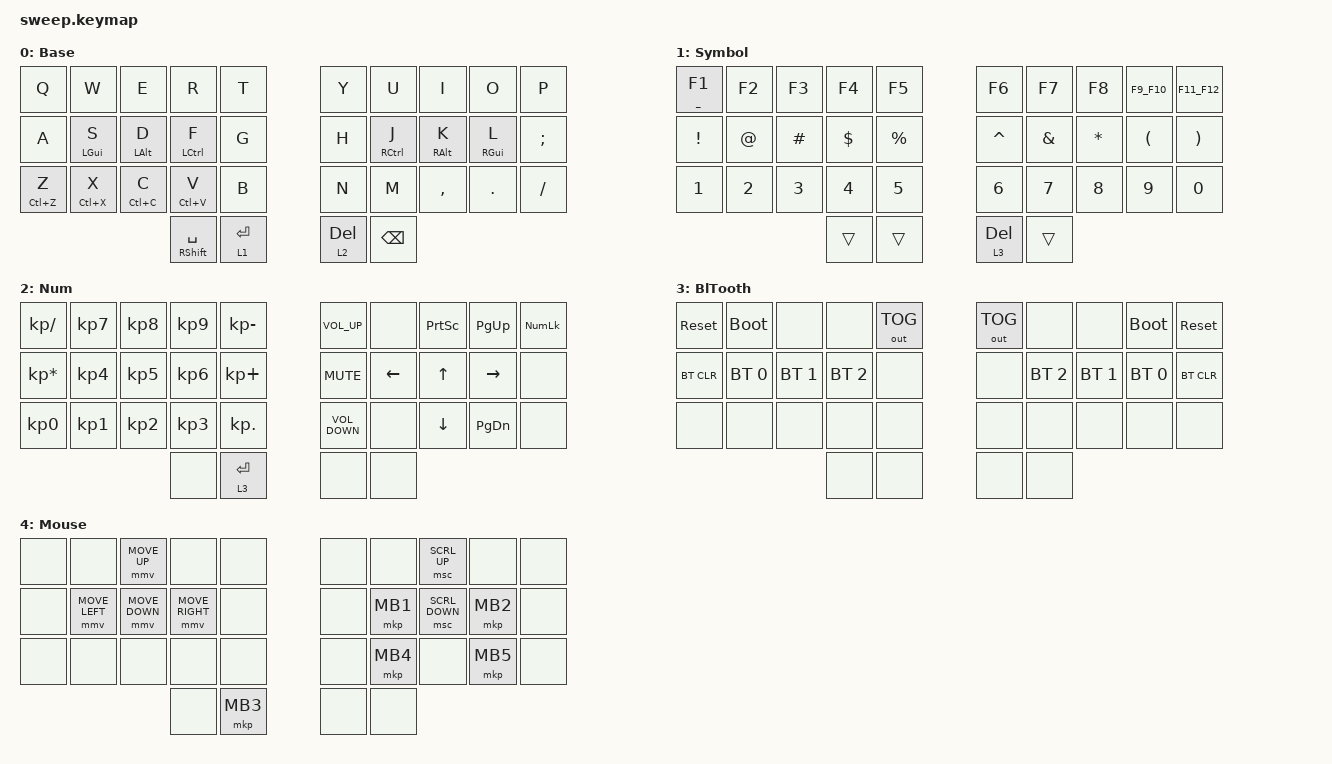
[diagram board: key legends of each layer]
#include <behaviors.dtsi>
#include <dt-bindings/zmk/bt.h>
#include <dt-bindings/zmk/keys.h>
#include <dt-bindings/zmk/outputs.h>
#include <dt-bindings/zmk/pointing.h>

&mt {
    flavor = "tap-preferred";
    tapping_term_ms = <350>;
};

/ {
    combos {
        compatible = "zmk,combos";

        Skoba_L {
            bindings = <&kp RBKT>;
            key-positions = <10 11>;
        };

        Tilda {
            bindings = <&kp TILDE>;
            key-positions = <20 21>;
        };

        Tabul {
            bindings = <&kp TAB>;
            key-positions = <4 14>;
        };

        Cherta {
            bindings = <&kp BSLH>;
            key-positions = <14 24>;
        };

        Escape {
            bindings = <&kp ESC>;
            key-positions = <5 25>;
        };

        Underscore {
            bindings = <&kp MINUS>;
            key-positions = <15 25>;
        };

        Scoba_R {
            bindings = <&kp LBKT>;
            key-positions = <19 18>;
        };

        Apostrophe {
            bindings = <&kp APOS>;
            key-positions = <29 28>;
        };

        comma {
            bindings = <&comma>;
            key-positions = <5 15>;
        };

        dot {
            bindings = <&dot>;
            key-positions = <6 16>;
        };

        colon {
            bindings = <&colon>;
            key-positions = <7 17>;
        };

        semicolon {
            bindings = <&semicolon>;
            key-positions = <8 18>;
        };

        Layer_4 {
            bindings = <&tog 4>;
            key-positions = <4 0>;
        };

        EN {
            bindings = <&kp LC(N0)>;
            key-positions = <13 2>;
        };

        RU {
            bindings = <&kp LC(NUMBER_1)>;
            key-positions = <16 7>;
        };

        cmd {
            bindings = <&cmd>;
            key-positions = <5 7>;
        };
    };

    behaviors {
        F11_F12: F11_F12 {
            compatible = "zmk,behavior-tap-dance";
            label = "F11_F12";
            #binding-cells = <0>;
            bindings = <&kp F11>, <&kp F12>;

            tapping-term-ms = <400>;
        };

        F9_F10: F9_F10 {
            compatible = "zmk,behavior-tap-dance";
            label = "F9_F10";
            #binding-cells = <0>;
            bindings = <&kp F9>, <&kp F10>;

            tapping-term-ms = <400>;
        };

        Sticky_shift: Sticky_shift {
            compatible = "zmk,behavior-sticky-key";
            label = "STICKY_SHIFT";
            bindings = <&kp>;
            #binding-cells = <1>;
            lazy;
            release-after-ms = <10000>;
        };
    };

    macros {
        colon: colon {
            compatible = "zmk,behavior-macro";
            #binding-cells = <0>;
            bindings = <&kp LC(LSHFT) &kp LS(SEMI) &kp LC(LSHFT) &kp SPACE>;
            label = "COLON";
        };

        semicolon: semicolon {
            compatible = "zmk,behavior-macro";
            #binding-cells = <0>;
            bindings = <&kp LC(LSHFT) &kp SEMI &kp LC(LSHFT) &kp SPACE>;
            label = "SEMICOLON";
        };

        comma: comma {
            compatible = "zmk,behavior-macro";
            #binding-cells = <0>;
            bindings = <&kp LS(SLASH) &kp SPACE>;
            label = "COMMA";
        };

        dot: dot {
            compatible = "zmk,behavior-macro";
            #binding-cells = <0>;
            bindings = <&kp SLASH &kp SPACE &Sticky_shift LSHFT>;
            label = "DOT";
        };

        cmd: cmd {
            compatible = "zmk,behavior-macro";
            #binding-cells = <0>;
            bindings = <&kp LC(N0) &kp LG(R) &kp C &kp M &kp D &kp ENTER>;
            label = "CMD";
        };
    };

    keymap {
        compatible = "zmk,keymap";

        layer_0 {
            bindings = <
&kp Q        &kp W           &kp E        &kp R            &kp T          &kp Y      &kp U        &kp I       &kp O            &kp P
&kp A        &mt LEFT_GUI S  &mt LALT D   &mt LCTRL F      &kp G          &kp H      &mt RCTRL J  &mt RALT K  &mt RIGHT_GUI L  &kp SEMI
&mt LC(Z) Z  &mt LC(X) X     &mt LC(C) C  &mt LC(V) V      &kp B          &kp N      &kp M        &kp COMMA   &kp DOT          &kp SLASH
                                          &mt RSHFT SPACE  &lt 1 ENTER    &lt 2 DEL  &kp BSPC
            >;

            label = "Base";
        };

        layer_1 {
            bindings = <
&mt UNDERSCORE F1  &kp F2        &kp F3        &kp F4        &kp F5          &kp F6        &kp F7         &kp F8        &F9_F10               &F11_F12
&kp EXCLAMATION    &kp AT_SIGN   &kp POUND     &kp DOLLAR    &kp PERCENT     &kp CARET     &kp AMPERSAND  &kp ASTRK     &kp LEFT_PARENTHESIS  &kp RIGHT_PARENTHESIS
&kp NUMBER_1       &kp NUMBER_2  &kp NUMBER_3  &kp NUMBER_4  &kp NUMBER_5    &kp N6        &kp NUMBER_7   &kp NUMBER_8  &kp NUMBER_9          &kp NUMBER_0
                                               &trans        &trans          &lt 3 DEL  &trans
            >;

            label = "Symbol";
        };

        layer_2 {
            bindings = <
&kp KP_DIVIDE    &kp KP_NUMBER_7  &kp KP_NUMBER_8  &kp KP_NUMBER_9  &kp KP_MINUS    &kp C_VOLUME_UP    &none           &kp PSCRN       &kp PG_UP        &kp KP_NUM
&kp KP_MULTIPLY  &kp KP_NUMBER_4  &kp KP_NUMBER_5  &kp KP_NUMBER_6  &kp KP_PLUS     &kp C_MUTE         &kp LEFT_ARROW  &kp UP_ARROW    &kp RIGHT_ARROW  &none
&kp KP_NUMBER_0  &kp KP_NUMBER_1  &kp KP_NUMBER_2  &kp KP_NUMBER_3  &kp KP_DOT      &kp C_VOLUME_DOWN  &none           &kp DOWN_ARROW  &kp PAGE_DOWN    &none
                                                   &none            &lt 3 ENTER     &none              &none
            >;

            label = "Num";
        };

        layer_3 {
            bindings = <
&sys_reset  &bootloader   &none         &none         &out OUT_TOG    &out OUT_TOG  &none         &none         &bootloader   &sys_reset
&bt BT_CLR  &bt BT_SEL 0  &bt BT_SEL 1  &bt BT_SEL 2  &none           &none         &bt BT_SEL 2  &bt BT_SEL 1  &bt BT_SEL 0  &bt BT_CLR
&none       &none         &none         &none         &none           &none         &none         &none         &none         &none
                                        &none         &none           &none         &none
            >;

            label = "BlTooth";
        };

        layer_4 {
            label = "Mouse";
            bindings = <
&none  &none           &mmv MOVE_UP    &none            &none       &none  &none     &msc SCRL_UP    &none     &none
&none  &mmv MOVE_LEFT  &mmv MOVE_DOWN  &mmv MOVE_RIGHT  &none       &none  &mkp MB1  &msc SCRL_DOWN  &mkp MB2  &none
&none  &none           &none           &none            &none       &none  &mkp MB4  &none           &mkp MB5  &none
                                       &none            &mkp MB3    &none  &none
            >;
        };
    };

    conditional_layers { compatible = "zmk,conditional-layers"; };
};
